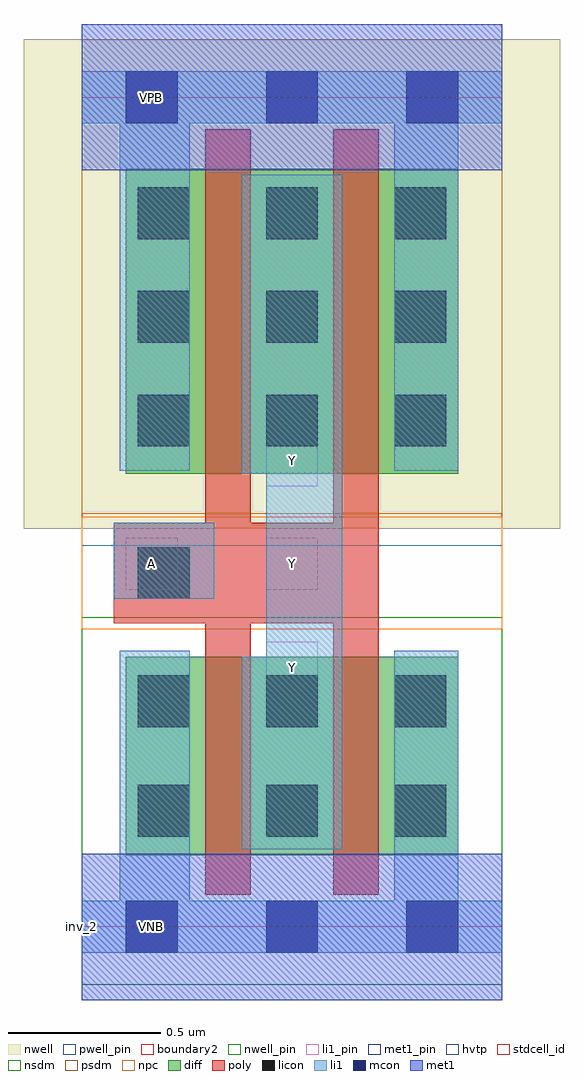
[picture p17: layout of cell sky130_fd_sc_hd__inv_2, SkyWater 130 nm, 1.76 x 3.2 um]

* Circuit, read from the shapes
.subckt sky130_fd_sc_hd__inv_2 A VGND VNB VPB VPWR Y
XM1 Y A VGND VNB sky130_fd_pr__nfet_01v8 w=0.65 l=0.15 m=2
XM2 Y A VPWR VPB sky130_fd_pr__pfet_01v8_hvt w=1 l=0.15 m=2
.ends

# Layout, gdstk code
import gdstk
lib = gdstk.Library(unit=1e-6, precision=1e-09)
def R(c, l, rs):  # rectangles x0, y0, x1, y1
    for r in rs: c.add(gdstk.rectangle(r[:2], r[2:], *l))
def P(c, l, *ps):  # polygons
    for p in ps: c.add(gdstk.Polygon(p, *l))
nwell_pin = (64, 16)
nwell = (64, 20)
diff = (65, 20)
poly = (66, 20)
licon = (66, 44)
li1_pin = (67, 16)
li1 = (67, 20)
mcon = (67, 44)
met1_pin = (68, 16)
met1 = (68, 20)
hvtp = (78, 44)
stdcell_id = (81, 4)
nsdm = (93, 44)
psdm = (94, 20)
npc = (95, 20)
pwell_pin = (122, 16)
boundary2 = (236, 0)

sky130_fd_sc_hd__inv_2 = lib.new_cell('sky130_fd_sc_hd__inv_2')
R(sky130_fd_sc_hd__inv_2, nwell_pin, [(0.145,2.635,0.315,2.805), (0.145,2.635,0.315,2.805)])
R(sky130_fd_sc_hd__inv_2, nwell, [(-0.19,1.305,1.57,2.91), (-0.19,1.305,1.57,2.91)])
R(sky130_fd_sc_hd__inv_2, diff, [(0.145,0.235,1.235,0.885), (0.145,0.235,1.235,0.885), (0.145,1.485,1.235,2.485), (0.145,1.485,1.235,2.485)])
P(sky130_fd_sc_hd__inv_2, poly, [(0.405,0.105),(0.405,0.995),(0.105,0.995),(0.105,1.325),(0.405,1.325),(0.405,2.615),(0.555,2.615),(0.555,1.325),(0.825,1.325),(0.825,2.615),(0.975,2.615),(0.975,0.105),(0.825,0.105),(0.825,0.995),(0.555,0.995),(0.555,0.105)],
  [(0.405,0.105),(0.405,0.995),(0.105,0.995),(0.105,1.325),(0.405,1.325),(0.405,2.615),(0.555,2.615),(0.555,1.325),(0.825,1.325),(0.825,2.615),(0.975,2.615),(0.975,0.105),(0.825,0.105),(0.825,0.995),(0.555,0.995),(0.555,0.105)])
R(sky130_fd_sc_hd__inv_2, licon, [(0.185,0.295,0.355,0.465), (0.185,0.295,0.355,0.465), (0.605,0.295,0.775,0.465), (0.605,0.295,0.775,0.465), (1.025,0.295,1.195,0.465), (1.025,0.295,1.195,0.465), (0.185,0.655,0.355,0.825), (0.185,0.655,0.355,0.825), (0.605,0.655,0.775,0.825), (0.605,0.655,0.775,0.825), (1.025,0.655,1.195,0.825), (1.025,0.655,1.195,0.825), (0.185,1.075,0.355,1.245), (0.185,1.075,0.355,1.245), (0.185,1.575,0.355,1.745), (0.185,1.575,0.355,1.745), (0.605,1.575,0.775,1.745), (0.605,1.575,0.775,1.745), (1.025,1.575,1.195,1.745), (1.025,1.575,1.195,1.745), (0.185,1.915,0.355,2.085), (0.185,1.915,0.355,2.085), (0.605,1.915,0.775,2.085), (0.605,1.915,0.775,2.085), (1.025,1.915,1.195,2.085), (1.025,1.915,1.195,2.085), (0.185,2.255,0.355,2.425), (0.185,2.255,0.355,2.425), (0.605,2.255,0.775,2.425), (0.605,2.255,0.775,2.425), (1.025,2.255,1.195,2.425), (1.025,2.255,1.195,2.425)])
R(sky130_fd_sc_hd__inv_2, li1_pin, [(0.605,0.765,0.775,0.935), (0.605,0.765,0.775,0.935), (0.145,1.105,0.315,1.275), (0.145,1.105,0.315,1.275), (0.605,1.105,0.775,1.275), (0.605,1.105,0.775,1.275), (0.605,1.445,0.775,1.615), (0.605,1.445,0.775,1.615)])
R(sky130_fd_sc_hd__inv_2, li1, [(0.105,1.075,0.435,1.325), (0.105,1.075,0.435,1.325)])
P(sky130_fd_sc_hd__inv_2, li1, [(0.125,1.495),(0.125,2.635),(0,2.635),(0,2.805),(1.38,2.805),(1.38,2.635),(1.235,2.635),(1.235,1.495),(1.025,1.495),(1.025,2.635),(0.355,2.635),(0.355,1.495)],
  [(0.525,0.255),(0.525,0.885),(0.605,0.885),(0.605,1.485),(0.525,1.485),(0.525,2.465),(0.855,2.465),(0.855,0.255)],
  [(0,-0.085),(0,0.085),(0.125,0.085),(0.125,0.905),(0.355,0.905),(0.355,0.085),(1.025,0.085),(1.025,0.905),(1.235,0.905),(1.235,0.085),(1.38,0.085),(1.38,-0.085)],
  [(0.125,1.495),(0.125,2.635),(0,2.635),(0,2.805),(1.38,2.805),(1.38,2.635),(1.235,2.635),(1.235,1.495),(1.025,1.495),(1.025,2.635),(0.355,2.635),(0.355,1.495)],
  [(0.525,0.255),(0.525,0.885),(0.605,0.885),(0.605,1.485),(0.525,1.485),(0.525,2.465),(0.855,2.465),(0.855,0.255)],
  [(0,-0.085),(0,0.085),(0.125,0.085),(0.125,0.905),(0.355,0.905),(0.355,0.085),(1.025,0.085),(1.025,0.905),(1.235,0.905),(1.235,0.085),(1.38,0.085),(1.38,-0.085)])
R(sky130_fd_sc_hd__inv_2, mcon, [(0.145,-0.085,0.315,0.085), (0.145,-0.085,0.315,0.085), (0.605,-0.085,0.775,0.085), (0.605,-0.085,0.775,0.085), (1.065,-0.085,1.235,0.085), (1.065,-0.085,1.235,0.085), (0.145,2.635,0.315,2.805), (0.145,2.635,0.315,2.805), (0.605,2.635,0.775,2.805), (0.605,2.635,0.775,2.805), (1.065,2.635,1.235,2.805), (1.065,2.635,1.235,2.805)])
R(sky130_fd_sc_hd__inv_2, met1_pin, [(0.145,-0.085,0.315,0.085), (0.145,-0.085,0.315,0.085), (0.145,2.635,0.315,2.805), (0.145,2.635,0.315,2.805)])
R(sky130_fd_sc_hd__inv_2, hvtp, [(0,1.25,1.38,2.72), (0,1.25,1.38,2.72)])
R(sky130_fd_sc_hd__inv_2, stdcell_id, [(0,0,1.38,2.72), (0,0,1.38,2.72)])
R(sky130_fd_sc_hd__inv_2, nsdm, [(0,-0.19,1.38,1.015), (0,-0.19,1.38,1.015)])
R(sky130_fd_sc_hd__inv_2, psdm, [(0,1.355,1.38,2.91), (0,1.355,1.38,2.91)])
R(sky130_fd_sc_hd__inv_2, npc, [(0,0.975,1.38,1.345), (0,0.975,1.38,1.345)])
R(sky130_fd_sc_hd__inv_2, pwell_pin, [(0.145,-0.085,0.315,0.085), (0.145,-0.085,0.315,0.085)])
R(sky130_fd_sc_hd__inv_2, boundary2, [(0,0,1.38,2.72), (0,0,1.38,2.72)])
sky130_fd_sc_hd__inv_2.add(gdstk.FlexPath([(0,2.72),(1.38,2.72)], 0.48, ends="flush", simple_path=True, layer=68, datatype=20))  # met1
sky130_fd_sc_hd__inv_2.add(gdstk.FlexPath([(0,0),(1.38,0)], 0.48, ends="flush", simple_path=True, layer=68, datatype=20))  # met1
sky130_fd_sc_hd__inv_2.add(gdstk.FlexPath([(0,2.72),(1.38,2.72)], 0.48, ends="flush", simple_path=True, layer=68, datatype=20))  # met1
sky130_fd_sc_hd__inv_2.add(gdstk.FlexPath([(0,0),(1.38,0)], 0.48, ends="flush", simple_path=True, layer=68, datatype=20))  # met1
sky130_fd_sc_hd__inv_2.add(gdstk.Label('A', (0.23,1.19), layer=67, texttype=5))
sky130_fd_sc_hd__inv_2.add(gdstk.Label('Y', (0.69,0.85), layer=67, texttype=5))
sky130_fd_sc_hd__inv_2.add(gdstk.Label('Y', (0.69,1.53), layer=67, texttype=5))
sky130_fd_sc_hd__inv_2.add(gdstk.Label('Y', (0.69,1.19), layer=67, texttype=5))
sky130_fd_sc_hd__inv_2.add(gdstk.Label('A', (0.23,1.19), layer=67, texttype=5))
sky130_fd_sc_hd__inv_2.add(gdstk.Label('Y', (0.69,0.85), layer=67, texttype=5))
sky130_fd_sc_hd__inv_2.add(gdstk.Label('Y', (0.69,1.53), layer=67, texttype=5))
sky130_fd_sc_hd__inv_2.add(gdstk.Label('Y', (0.69,1.19), layer=67, texttype=5))
sky130_fd_sc_hd__inv_2.add(gdstk.Label('VNB', (0.23,0), layer=64, texttype=59))
sky130_fd_sc_hd__inv_2.add(gdstk.Label('VNB', (0.23,0), layer=64, texttype=59))
sky130_fd_sc_hd__inv_2.add(gdstk.Label('VPB', (0.23,2.72), layer=64, texttype=5))
sky130_fd_sc_hd__inv_2.add(gdstk.Label('VPB', (0.23,2.72), layer=64, texttype=5))
sky130_fd_sc_hd__inv_2.add(gdstk.Label('VPWR', (0.23,2.72), layer=68, texttype=5))
sky130_fd_sc_hd__inv_2.add(gdstk.Label('VGND', (0.23,0), layer=68, texttype=5))
sky130_fd_sc_hd__inv_2.add(gdstk.Label('VPWR', (0.23,2.72), layer=68, texttype=5))
sky130_fd_sc_hd__inv_2.add(gdstk.Label('VGND', (0.23,0), layer=68, texttype=5))
sky130_fd_sc_hd__inv_2.add(gdstk.Label('inv_2', (0,0), layer=83, texttype=44))
sky130_fd_sc_hd__inv_2.add(gdstk.Label('inv_2', (0,0), layer=83, texttype=44))

lib.write_gds('sky130_fd_sc_hd__inv_2.gds')
